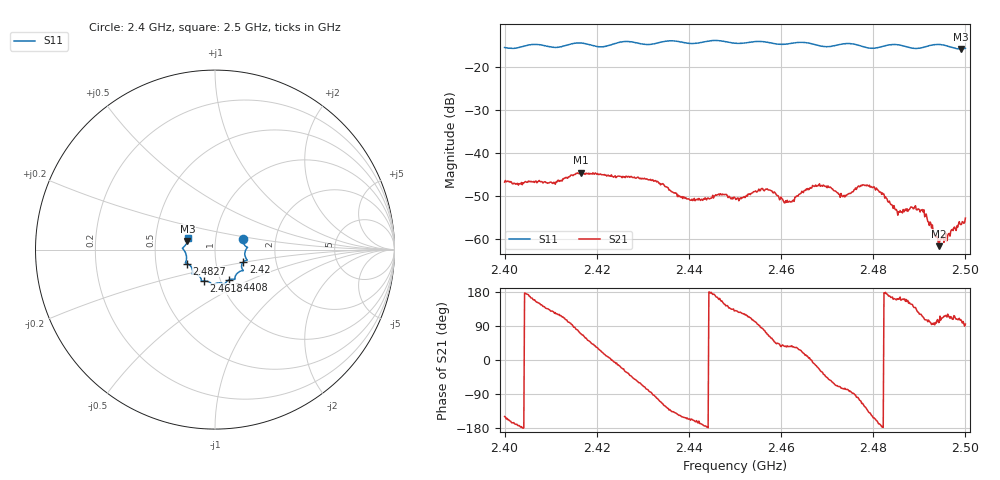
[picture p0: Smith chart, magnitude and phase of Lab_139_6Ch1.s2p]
# Hz S RI R 50
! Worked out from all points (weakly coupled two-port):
!   601 points, 2.4 GHz to 2.5 GHz, reference 50 ohm
!   highest |S21| = -44.63 dB at 2.4165 GHz (marker M1); lowest = -61.7 dB at 2.4942 GHz (marker M2)
!   lowest |S11| = -15.9 dB at 2.499 GHz (marker M3), VSWR 1.38, Z = 36.5 + j3.58 ohm
!   |S11| at or under -10 dB: start of sweep to end of sweep
!   S12 and S22 are empty: the file has one direction only
!   S11 on the Smith chart (normalised r, x): 2.4 GHz: 1.36, +0.17; 2.42 GHz: 1.36, -0.19; 2.4408 GHz: 1.10, -0.38; 2.4618 GHz: 0.84, -0.30; 2.4827 GHz: 0.72, -0.12; 2.5 GHz: 0.73, +0.09
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2.4e9  0.1554 0.0618  -0.00392 -0.00234  0 0  0 0
2.410833e9  0.1667 -0.0157  -0.00246 0.00378  0 0  0 0
2.4165e9  0.1791 -0.0589  0.00205 0.0055  0 0  0 0
2.416667e9  0.1787 -0.0589  0.00211 0.00533  0 0  0 0
2.42e9  0.1572 -0.0694  0.00471 0.00308  0 0  0 0
2.433333e9  0.1118 -0.1526  -0.0011 -0.00444  0 0  0 0
2.440833e9  0.0781 -0.1687  -0.00259 -0.00103  0 0  0 0
2.446833e9  0.0503 -0.1935  -0.00311 0.00125  0 0  0 0
2.45e9  0.0274 -0.1853  -0.00192 0.00229  0 0  0 0
2.457167e9  -0.0186 -0.1908  0.00145 0.00342  0 0  0 0
2.461833e9  -0.0608 -0.1751  0.00223 0.00159  0 0  0 0
2.466667e9  -0.0763 -0.1683  0.00391 -6.46e-05  0 0  0 0
2.470333e9  -0.0986 -0.1396  0.00249 -0.00311  0 0  0 0
2.473667e9  -0.1247 -0.136  0.000743 -0.00312  0 0  0 0
2.478167e9  -0.1256 -0.1127  -0.00229 -0.00348  0 0  0 0
2.482667e9  -0.1577 -0.0777  -0.0031 7.81e-05  0 0  0 0
2.483333e9  -0.1617 -0.0764  -0.00262 0.000526  0 0  0 0
2.485833e9  -0.1636 -0.0701  -0.00207 0.000515  0 0  0 0
2.4905e9  -0.165 -0.0155  -0.00101 0.00192  0 0  0 0
2.494167e9  -0.1811 0.008  -0.000127 0.000814  0 0  0 0
2.499e9  -0.1535 0.0478  -0.000418 0.00141  0 0  0 0
2.5e9  -0.1513 0.0626  -0.000148 0.00174  0 0  0 0
